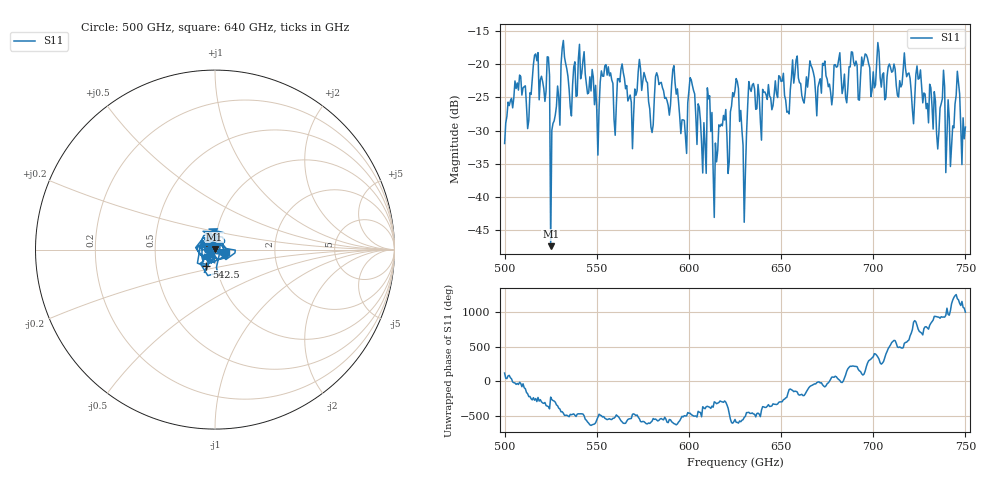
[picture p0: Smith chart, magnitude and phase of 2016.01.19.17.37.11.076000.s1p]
!Created with skrf (http://scikit-rf.org).
# GHz S RI R 50.0
!freq ReS11 ImS11
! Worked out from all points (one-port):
!   401 points, 500 GHz to 750 GHz, reference 50 ohm
!   lowest |S11| = -47.4 dB at 525 GHz (marker M1), VSWR 1.01, Z = 49.7 + j0.335 ohm
!   |S11| at or under -10 dB: start of sweep to end of sweep
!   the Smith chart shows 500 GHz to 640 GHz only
!   S11 on the Smith chart (normalised r, x): 500 GHz: 0.98, +0.04; 542.5 GHz: 0.89, -0.17; 640 GHz: 1.14, -0.03
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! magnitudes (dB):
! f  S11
! 500 GHz  -31.9
! 506.9 GHz  -22.9
! 513.1 GHz  -28.5
! 516.9 GHz  -18.5
! 523.1 GHz  -18.9
! 525 GHz  -47.4
! 531.2 GHz  -17.6
! 542.5 GHz  -19.5
! 550 GHz  -26.9
! 562.5 GHz  -22.7
! 568.8 GHz  -25.8
! 573.8 GHz  -20.7
! 579.4 GHz  -29.5
! 583.1 GHz  -21.9
! 593.8 GHz  -23.7
! 597.5 GHz  -28.5
! 601.9 GHz  -23.2
! 608.1 GHz  -28.8
! 611.2 GHz  -24.8
! 614.4 GHz  -31.9
! 625 GHz  -24.0
! 630 GHz  -43.8
! 633.8 GHz  -24.1
! 640 GHz  -23.8
! 656.2 GHz  -19.4
! 687.5 GHz  -20.4
! 718.8 GHz  -21.5
! 750 GHz  -29.5
